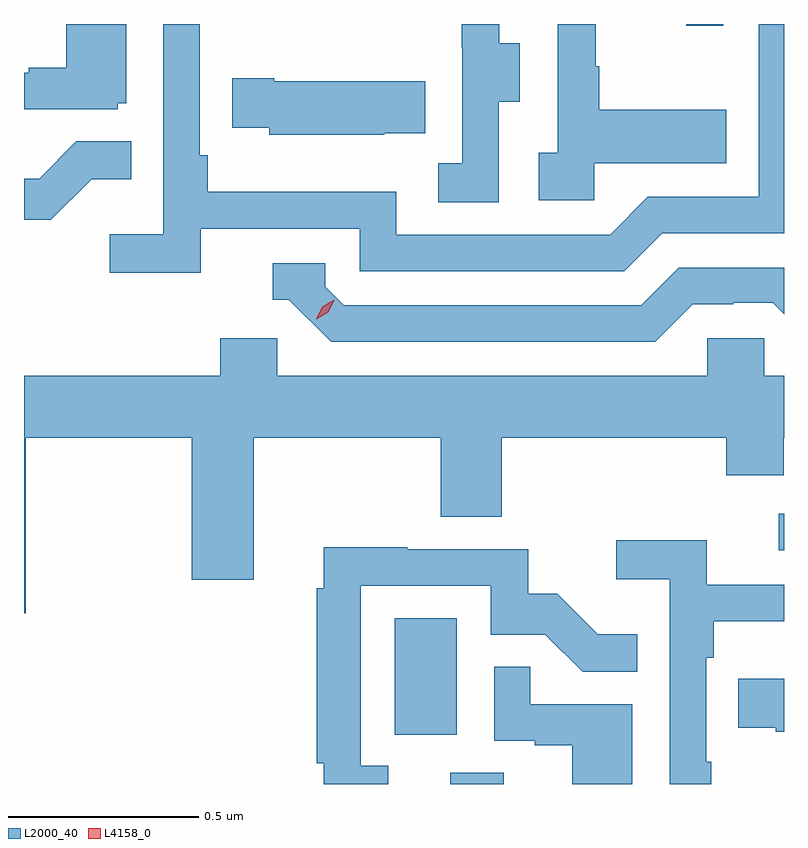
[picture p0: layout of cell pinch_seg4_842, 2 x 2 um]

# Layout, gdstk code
import gdstk
lib = gdstk.Library(unit=1e-6, precision=1e-09)
def R(c, l, rs):  # rectangles x0, y0, x1, y1
    for r in rs: c.add(gdstk.rectangle(r[:2], r[2:], *l))
def P(c, l, *ps):  # polygons
    for p in ps: c.add(gdstk.Polygon(p, *l))
L2000_40 = (2000, 40)
L4158_0 = (4158, 0)

pinch_seg4_842 = lib.new_cell('pinch_seg4_842')
R(pinch_seg4_842, L2000_40, [(825.029,790.581,825.169,790.61), (824.882,790.71,825.046,791.017), (825.893,791.196,825.907,791.292), (825.65,792.576,825.747,792.581)])
P(pinch_seg4_842, L2000_40, [(825.156,792.376),(825.211,792.376),(825.211,792.531),(825.157,792.531),(825.157,792.581),(825.059,792.581),(825.059,792.519),(825.06,792.519),(825.06,792.215),(824.997,792.215),(824.997,792.112),(825.156,792.112)],
  [(825.408,792.215),(825.755,792.215),(825.755,792.355),(825.421,792.355),(825.421,792.47),(825.411,792.47),(825.411,792.581),(825.312,792.581),(825.312,792.242),(825.261,792.242),(825.261,792.117),(825.408,792.117)],
  [(824.154,792.372),(824.176,792.372),(824.176,792.581),(824.018,792.581),(824.018,792.466),(823.919,792.466),(823.919,792.453),(823.907,792.453),(823.907,792.357),(824.154,792.357)],
  [(824.372,792.042),(824.79,792.042),(824.79,791.931),(825.487,791.931),(825.586,792.03),(825.907,792.03),(825.907,792.581),(825.84,792.581),(825.84,792.126),(825.549,792.126),(825.45,792.027),(824.886,792.027),(824.886,792.139),(824.39,792.139),(824.39,792.235),(824.37,792.235),(824.37,792.581),(824.274,792.581),(824.274,792.028),(824.133,792.028),(824.133,791.926),(824.372,791.926)],
  [(824.855,792.293),(824.963,792.293),(824.963,792.43),(824.566,792.43),(824.566,792.438),(824.455,792.438),(824.455,792.308),(824.553,792.308),(824.553,792.29),(824.855,792.29)],
  [(824.085,792.173),(824.189,792.173),(824.189,792.272),(824.045,792.272),(823.947,792.174),(823.907,792.174),(823.907,792.066),(823.978,792.066)],
  [(825.667,791.844),(825.774,791.844),(825.774,791.847),(825.877,791.847),(825.907,791.817),(825.907,791.94),(825.63,791.94),(825.531,791.841),(824.748,791.841),(824.7,791.889),(824.7,791.952),(824.561,791.952),(824.561,791.856),(824.604,791.856),(824.715,791.745),(825.568,791.745)],
  [(823.911,791.492),(824.348,791.492),(824.348,791.118),(824.512,791.118),(824.512,791.492),(825.004,791.492),(825.004,791.284),(825.164,791.284),(825.164,791.492),(825.755,791.492),(825.755,791.394),(825.906,791.394),(825.906,791.492),(825.907,791.492),(825.907,791.656),(825.855,791.656),(825.855,791.754),(825.705,791.754),(825.705,791.656),(824.574,791.656),(824.574,791.754),(824.423,791.754),(824.423,791.656),(823.907,791.656),(823.907,791.031),(823.911,791.031)],
  [(825.715,790.64),(825.702,790.64),(825.702,790.913),(825.722,790.913),(825.722,791.009),(825.907,791.009),(825.907,791.106),(825.704,791.106),(825.704,791.222),(825.465,791.222),(825.465,791.12),(825.606,791.12),(825.606,790.581),(825.715,790.581)],
  [(824.866,790.629),(824.793,790.629),(824.793,791.103),(825.135,791.103),(825.135,790.974),(825.279,790.974),(825.377,790.876),(825.521,790.876),(825.521,790.975),(825.417,790.975),(825.31,791.082),(825.234,791.082),(825.234,791.199),(824.915,791.199),(824.915,791.204),(824.696,791.204),(824.696,791.096),(824.677,791.096),(824.677,790.636),(824.696,790.636),(824.696,790.581),(824.866,790.581)],
  [(825.508,790.791),(825.239,790.791),(825.239,790.889),(825.144,790.889),(825.144,790.695),(825.251,790.695),(825.251,790.683),(825.35,790.683),(825.35,790.581),(825.508,790.581)],
  [(825.907,790.858),(825.787,790.858),(825.787,790.729),(825.885,790.729),(825.885,790.718),(825.907,790.718)])
P(pinch_seg4_842, L4158_0, [(824.676,791.804),(824.676,791.804),(824.692,791.837),(824.723,791.856),(824.723,791.856),(824.723,791.856),(824.707,791.823),(824.676,791.804)])

lib.write_gds('pinch_seg4_842.gds')
